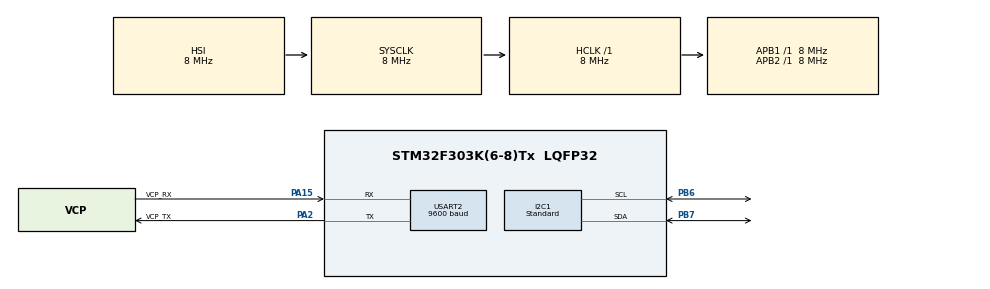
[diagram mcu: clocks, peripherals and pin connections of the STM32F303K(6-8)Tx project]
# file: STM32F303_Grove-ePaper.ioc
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I2C1.I2C_Speed_Mode=I2C_Standard
I2C1.Timing=0x2000090E
Mcu.Family=STM32F3
Mcu.Name=STM32F303K(6-8)Tx
Mcu.Package=LQFP32
NVIC.PriorityGroup=NVIC_PRIORITYGROUP_4
PA13.GPIO_Label=SWDIO
PA13.Mode=Serial_Wire
PA13.Signal=SYS_JTMS-SWDIO
PA14.GPIO_Label=SWCLK
PA14.Mode=Serial_Wire
PA14.Signal=SYS_JTCK-SWCLK
PA15.GPIO_Label=VCP_RX
PA15.Mode=Asynchronous
PA15.Signal=USART2_RX
PA2.GPIO_Label=VCP_TX
PA2.Mode=Asynchronous
PA2.Signal=USART2_TX
PB6.GPIO_FM6=SYSCFG_CFGR1_I2C_PB6_FMP
PB6.Mode=I2C
PB6.Signal=I2C1_SCL
PB7.GPIO_FM7=SYSCFG_CFGR1_I2C_PB7_FMP
PB7.Mode=I2C
PB7.Signal=I2C1_SDA
PF0\ /\ OSC_IN.GPIO_Label=MCO
PF0\ /\ OSC_IN.Mode=HSE-External-Clock-Source
PF0\ /\ OSC_IN.Signal=RCC_OSC_IN
ProjectManager.HeapSize=0x200
ProjectManager.StackSize=0x400
ProjectManager.TargetToolchain=SW4STM32
RCC.AHBFreq_Value=8000000
RCC.APB1Freq_Value=8000000
RCC.APB2Freq_Value=8000000
RCC.CortexFreq_Value=8000000
RCC.HSE_VALUE=8000000
RCC.HSI_VALUE=8000000
RCC.SYSCLKFreq_VALUE=8000000
USART2.BaudRate=9600
USART2.VirtualMode-Asynchronous=VM_ASYNC
USART2.WordLength=WORDLENGTH_8B
board=NUCLEO-F303K8

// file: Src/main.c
/**
  ******************************************************************************
  * @file           : main.c
  * @brief          : Main program body
  ******************************************************************************
  ** This notice applies to any and all portions of this file
  * that are not between comment pairs USER CODE BEGIN and
  * USER CODE END. Other portions of this file, whether
  * inserted by the user or by software development tools
  * are owned by their respective copyright owners.
  *
  * COPYRIGHT(c) 2018 STMicroelectronics
  *
  * Redistribution and use in source and binary forms, with or without modification,
  * are permitted provided that the following conditions are met:
  *   1. Redistributions of source code must retain the above copyright notice,
  *      this list of conditions and the following disclaimer.
  *   2. Redistributions in binary form must reproduce the above copyright notice,
  *      this list of conditions and the following disclaimer in the documentation
  *      and/or other materials provided with the distribution.
  *   3. Neither the name of STMicroelectronics nor the names of its contributors
  *      may be used to endorse or promote products derived from this software
  *      without specific prior written permission.
  *
  * THIS SOFTWARE IS PROVIDED BY THE COPYRIGHT HOLDERS AND CONTRIBUTORS "AS IS"
  * AND ANY EXPRESS OR IMPLIED WARRANTIES, INCLUDING, BUT NOT LIMITED TO, THE
  * IMPLIED WARRANTIES OF MERCHANTABILITY AND FITNESS FOR A PARTICULAR PURPOSE ARE
  * DISCLAIMED. IN NO EVENT SHALL THE COPYRIGHT HOLDER OR CONTRIBUTORS BE LIABLE
  * FOR ANY DIRECT, INDIRECT, INCIDENTAL, SPECIAL, EXEMPLARY, OR CONSEQUENTIAL
  * DAMAGES (INCLUDING, BUT NOT LIMITED TO, PROCUREMENT OF SUBSTITUTE GOODS OR
  * SERVICES; LOSS OF USE, DATA, OR PROFITS; OR BUSINESS INTERRUPTION) HOWEVER
  * CAUSED AND ON ANY THEORY OF LIABILITY, WHETHER IN CONTRACT, STRICT LIABILITY,
  * OR TORT (INCLUDING NEGLIGENCE OR OTHERWISE) ARISING IN ANY WAY OUT OF THE USE
  * OF THIS SOFTWARE, EVEN IF ADVISED OF THE POSSIBILITY OF SUCH DAMAGE.
  *
  ******************************************************************************
  */
#include "main.h"
#include "stm32f3xx_hal.h"
#include "i2c.h"
#include "usart.h"
#include "gpio.h"

/* USER CODE BEGIN Includes */
#include "epd1in54.h"
#include "epdif.h"
#include "epdpaint.h"
#include "imagedata.h"
#include <stdlib.h>
#include "i2c-spi_bridge.h"
/* USER CODE END Includes */

/* USER CODE BEGIN PV */
/* Private variables ---------------------------------------------------------*/

/* USER CODE END PV */

void SystemClock_Config(void);

/* USER CODE BEGIN PFP */
/* Private function prototypes -----------------------------------------------*/
int _write (int fd, char *ptr, int len)
{
  HAL_UART_Transmit(&huart2, (uint8_t*)ptr, len, 1000);
  return len;
}
/* USER CODE END PFP */

/* USER CODE BEGIN 0 */
#define COLORED      0
#define UNCOLORED    1
/* USER CODE END 0 */

int main(void)
{

  /* MCU Configuration----------------------------------------------------------*/

  /* Reset of all peripherals, Initializes the Flash interface and the Systick. */
  HAL_Init();

  /* USER CODE BEGIN Init */
  unsigned char* frame_buffer = (unsigned char*)malloc(EPD_WIDTH * EPD_HEIGHT / 8);
  char time_string[] = {'0', '0', ':', '0', '0', '\0'};
  unsigned long time_start_ms;
  unsigned long time_now_s;

  /* USER CODE END Init */

  /* Configure the system clock */
  SystemClock_Config();

  /* Initialize all configured peripherals */
  MX_GPIO_Init();
  MX_USART2_UART_Init();
  MX_I2C1_Init();
  /* USER CODE BEGIN 2 */
  printf("Init OK! \n");

  if(HAL_I2C_Master_Transmit(&hi2c1,SC18IS602_ADDRESS,(uint8_t*)0x00,0,50)!=HAL_OK){
	  printf("DEV NOT FOUND!\n");
  }

  SC18IS602_InitDevice();

  EPD epd;
  if (EPD_Init(&epd, lut_full_update) != 0) {
    printf("e-Paper init failed\n");
    return -1;
  }

  Paint paint;
  printf("W:%d, H:%d \n",epd.width,epd.height);
  Paint_Init(&paint, frame_buffer, epd.width, epd.height);
  Paint_Clear(&paint, UNCOLORED);
  Paint_SetRotate(&paint, ROTATE_270);

  /* For simplicity, the arguments are explicit numerical coordinates */
  /* Write strings to the buffer */
  Paint_DrawFilledRectangle(&paint, 0, 10, 200, 50, COLORED);

  Paint_DrawStringAt(&paint, 52, 24, "Crescent ", &Font16, UNCOLORED);
  Paint_DrawStringAt(&paint, 40, 60, "e-Paper I2C ", &Font16, COLORED);
  Paint_DrawStringAt(&paint, 35, 80, "Grove Module", &Font16, COLORED);

  Paint_DrawStringAt(&paint, 60, 120, "Hello!!", &Font16, COLORED);

  /* Display the frame_buffer */

  EPD_SetFrameMemory(&epd, frame_buffer, 0, 0, Paint_GetWidth(&paint), Paint_GetHeight(&paint));
  EPD_DisplayFrame(&epd);
  EPD_SetFrameMemory(&epd, frame_buffer, 0, 0, Paint_GetWidth(&paint), Paint_GetHeight(&paint));
  EPD_DisplayFrame(&epd);
  EPD_DelayMs(&epd, 2000);

  while(1);

  /* EPD_or partial update */
  if (EPD_Init(&epd, lut_partial_update) != 0) {
    printf("e-Paper init failed\n");
    return -1;
  }

  time_start_ms = HAL_GetTick();
  /* USER CODE END 2 */

  /* Infinite loop */
  while (1)
  {

  /* USER CODE BEGIN 3 */
	    time_now_s = (HAL_GetTick() - time_start_ms) / 1000;
	    time_string[0] = time_now_s / 60 / 10 + '0';
	    time_string[1] = time_now_s / 60 % 10 + '0';
	    time_string[3] = time_now_s % 60 / 10 + '0';
	    time_string[4] = time_now_s % 60 % 10 + '0';

	    Paint_SetWidth(&paint, 32);
	    Paint_SetHeight(&paint, 96);
	    Paint_SetRotate(&paint, ROTATE_270);

	    Paint_Clear(&paint, UNCOLORED);
	    Paint_DrawStringAt(&paint, 10, 84, time_string, &Font24, COLORED);
	    EPD_SetFrameMemory(&epd, frame_buffer, 50, 100, Paint_GetWidth(&paint), Paint_GetHeight(&paint));
	    EPD_DisplayFrame(&epd);

  }
  /* USER CODE END 3 */

}

void SystemClock_Config(void)
{

  RCC_OscInitTypeDef RCC_OscInitStruct;
  RCC_ClkInitTypeDef RCC_ClkInitStruct;
  RCC_PeriphCLKInitTypeDef PeriphClkInit;

    /**Initializes the CPU, AHB and APB busses clocks
    */
  RCC_OscInitStruct.OscillatorType = RCC_OSCILLATORTYPE_HSI;
  RCC_OscInitStruct.HSIState = RCC_HSI_ON;
  RCC_OscInitStruct.HSICalibrationValue = 16;
  RCC_OscInitStruct.PLL.PLLState = RCC_PLL_NONE;
  if (HAL_RCC_OscConfig(&RCC_OscInitStruct) != HAL_OK)
  {
    _Error_Handler(__FILE__, __LINE__);
  }

    /**Initializes the CPU, AHB and APB busses clocks
    */
  RCC_ClkInitStruct.ClockType = RCC_CLOCKTYPE_HCLK|RCC_CLOCKTYPE_SYSCLK
                              |RCC_CLOCKTYPE_PCLK1|RCC_CLOCKTYPE_PCLK2;
  RCC_ClkInitStruct.SYSCLKSource = RCC_SYSCLKSOURCE_HSI;
  RCC_ClkInitStruct.AHBCLKDivider = RCC_SYSCLK_DIV1;
  RCC_ClkInitStruct.APB1CLKDivider = RCC_HCLK_DIV1;
  RCC_ClkInitStruct.APB2CLKDivider = RCC_HCLK_DIV1;

  if (HAL_RCC_ClockConfig(&RCC_ClkInitStruct, FLASH_LATENCY_0) != HAL_OK)
  {
    _Error_Handler(__FILE__, __LINE__);
  }

  PeriphClkInit.PeriphClockSelection = RCC_PERIPHCLK_I2C1;
  PeriphClkInit.I2c1ClockSelection = RCC_I2C1CLKSOURCE_HSI;
  if (HAL_RCCEx_PeriphCLKConfig(&PeriphClkInit) != HAL_OK)
  {
    _Error_Handler(__FILE__, __LINE__);
  }

    /**Configure the Systick interrupt time
    */
  HAL_SYSTICK_Config(HAL_RCC_GetHCLKFreq()/1000);

    /**Configure the Systick
    */
  HAL_SYSTICK_CLKSourceConfig(SYSTICK_CLKSOURCE_HCLK);

  /* SysTick_IRQn interrupt configuration */
  HAL_NVIC_SetPriority(SysTick_IRQn, 0, 0);
}

void _Error_Handler(char *file, int line)
{
  while(1)
  {
  }
}

/************************ (C) COPYRIGHT STMicroelectronics *****END OF FILE****/
